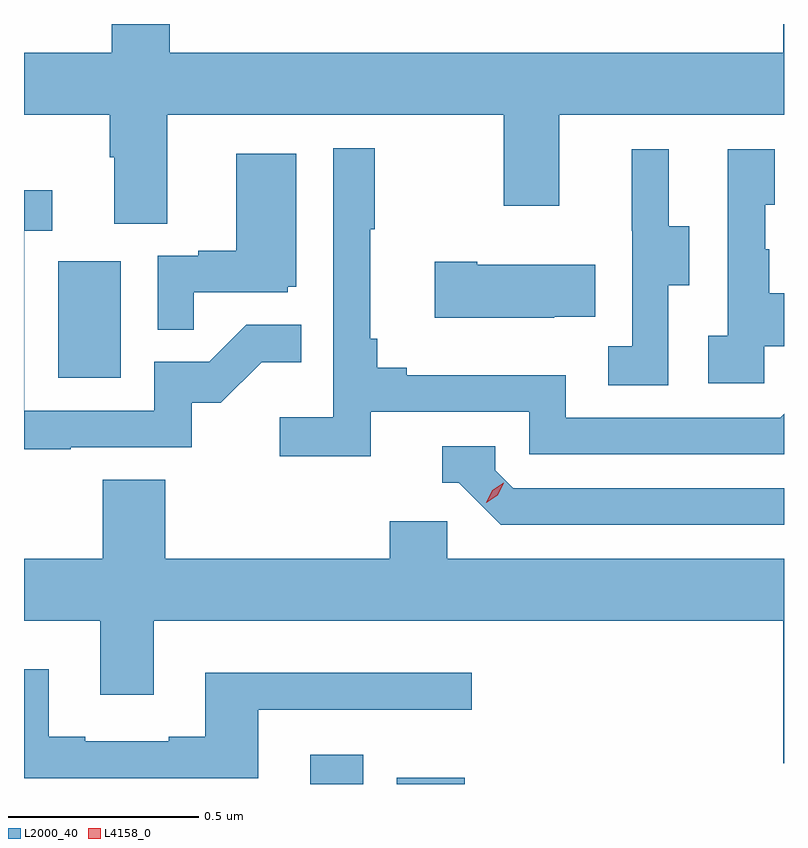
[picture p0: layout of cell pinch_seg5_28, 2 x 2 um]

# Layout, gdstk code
import gdstk
lib = gdstk.Library(unit=1e-6, precision=1e-09)
def R(c, l, rs):  # rectangles x0, y0, x1, y1
    for r in rs: c.add(gdstk.rectangle(r[:2], r[2:], *l))
def P(c, l, *ps):  # polygons
    for p in ps: c.add(gdstk.Polygon(p, *l))
L2000_40 = (2000, 40)
L4158_0 = (4158, 0)

pinch_seg5_28 = lib.new_cell('pinch_seg5_28')
R(pinch_seg5_28, L2000_40, [(1110.815,902.951,1110.955,903.028), (1111.043,902.951,1111.222,902.968), (1110.152,904.02,1110.316,904.327)])
P(pinch_seg5_28, L2000_40, [(1110.439,904.712),(1111.324,904.712),(1111.324,904.473),(1111.471,904.473),(1111.471,904.712),(1112.062,904.712),(1112.062,904.951),(1112.06,904.951),(1112.06,904.876),(1110.446,904.876),(1110.446,904.951),(1110.293,904.951),(1110.293,904.876),(1110.062,904.876),(1110.062,904.712),(1110.287,904.712),(1110.287,904.6),(1110.299,904.6),(1110.299,904.426),(1110.439,904.426)],
  [(1110.974,903.93),(1111.392,903.93),(1111.392,903.819),(1112.062,903.819),(1112.062,903.925),(1112.052,903.915),(1111.488,903.915),(1111.488,904.027),(1111.069,904.027),(1111.069,904.046),(1110.992,904.046),(1110.992,904.123),(1110.973,904.123),(1110.973,904.411),(1110.985,904.411),(1110.985,904.624),(1110.876,904.624),(1110.876,903.916),(1110.735,903.916),(1110.735,903.814),(1110.974,903.814)],
  [(1112.01,904.103),(1112.062,904.103),(1112.062,904.243),(1112.023,904.243),(1112.023,904.358),(1112.013,904.358),(1112.013,904.476),(1112.038,904.476),(1112.038,904.621),(1111.914,904.621),(1111.914,904.13),(1111.863,904.13),(1111.863,904.005),(1112.01,904.005)],
  [(1111.758,904.264),(1111.813,904.264),(1111.813,904.419),(1111.759,904.419),(1111.759,904.621),(1111.661,904.621),(1111.661,904.407),(1111.662,904.407),(1111.662,904.103),(1111.599,904.103),(1111.599,904),(1111.758,904)],
  [(1110.509,904.245),(1110.756,904.245),(1110.756,904.26),(1110.778,904.26),(1110.778,904.609),(1110.62,904.609),(1110.62,904.354),(1110.521,904.354),(1110.521,904.341),(1110.414,904.341),(1110.414,904.147),(1110.509,904.147)],
  [(1110.185,903.837),(1110.504,903.837),(1110.504,903.954),(1110.58,903.954),(1110.687,904.061),(1110.791,904.061),(1110.791,904.16),(1110.647,904.16),(1110.549,904.062),(1110.405,904.062),(1110.405,903.933),(1110.063,903.933),(1110.063,904.407),(1110.136,904.407),(1110.136,904.513),(1110.062,904.513),(1110.062,903.832),(1110.185,903.832)],
  [(1111.457,904.181),(1111.565,904.181),(1111.565,904.318),(1111.255,904.318),(1111.255,904.326),(1111.143,904.326),(1111.143,904.178),(1111.457,904.178)],
  [(1112.062,903.729),(1111.35,903.729),(1111.302,903.777),(1111.302,903.84),(1111.163,903.84),(1111.163,903.744),(1111.206,903.744),(1111.317,903.633),(1112.062,903.633)],
  [(1112.062,903.544),(1111.176,903.544),(1111.176,903.642),(1111.025,903.642),(1111.025,903.544),(1110.434,903.544),(1110.434,903.752),(1110.269,903.752),(1110.269,903.544),(1110.062,903.544),(1110.062,903.38),(1110.263,903.38),(1110.263,903.186),(1110.403,903.186),(1110.403,903.38),(1112.06,903.38),(1112.06,903.006),(1112.062,903.006)],
  [(1110.679,903.147),(1111.24,903.147),(1111.24,903.244),(1110.539,903.244),(1110.539,903.076),(1110.443,903.076),(1110.443,903.063),(1110.223,903.063),(1110.223,903.076),(1110.127,903.076),(1110.127,903.253),(1110.062,903.253),(1110.062,902.966),(1110.679,902.966)])
P(pinch_seg5_28, L4158_0, [(1111.278,903.691),(1111.278,903.692),(1111.294,903.724),(1111.325,903.744),(1111.325,903.744),(1111.325,903.744),(1111.309,903.711),(1111.278,903.691)])

lib.write_gds('pinch_seg5_28.gds')
